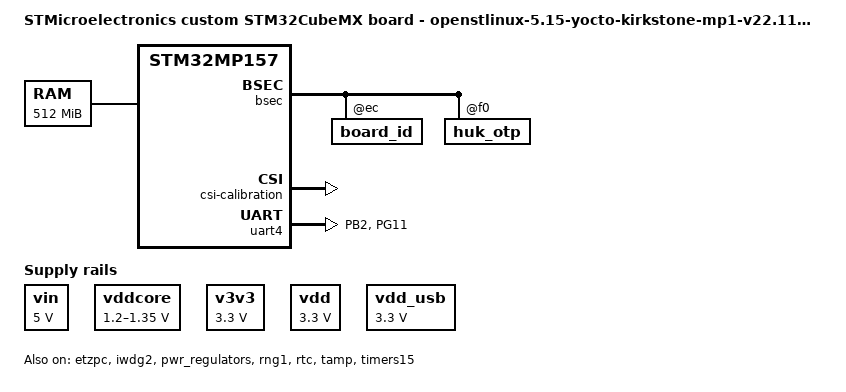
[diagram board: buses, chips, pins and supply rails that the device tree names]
/* SPDX-License-Identifier: (GPL-2.0+ OR BSD-3-Clause) */
/*
 * Copyright (C) STMicroelectronics 2022 - All Rights Reserved
 * Author: STM32CubeMX code generation for STMicroelectronics.
 */

/* For more information on Device Tree configuration, please refer to
 * https://wiki.st.com/stm32mpu/wiki/Category:Device_tree_configuration
 */

/dts-v1/;
#include <dt-bindings/pinctrl/stm32-pinfunc.h>
#include <dt-bindings/clock/stm32mp1-clksrc.h>
#include <dt-bindings/soc/stm32mp15-etzpc.h>

#include "stm32mp157.dtsi"
#include "stm32mp15xa.dtsi"
#include "stm32mp15xxac-pinctrl.dtsi"

/* USER CODE BEGIN includes */
#include <dt-bindings/power/stm32mp1-power.h>
/* USER CODE END includes */

/ {
	model = "STMicroelectronics custom STM32CubeMX board - openstlinux-5.15-yocto-kirkstone-mp1-v22.11.23";
	compatible = "st,stm32mp157a-bearpi-mx", "st,stm32mp157";

	memory@c0000000 {
		device_type = "memory";
		reg = <0xc0000000 0x20000000>;

		/* USER CODE BEGIN memory */
		/* USER CODE END memory */
	};

	reserved-memory {
		#address-cells = <1>;
		#size-cells = <1>;
		ranges;

		/* USER CODE BEGIN reserved-memory */
		/* USER CODE END reserved-memory */
	};

	/* USER CODE BEGIN root */

	vin:vin{
		compatible = "regulator-fixed";
		regulator-name = "vin";
		regulator-min-microvolt = <5000000>;
		regulator-max-microvolt = <5000000>;
		regulator-always-on;
	};
	vin: vin {
		compatible = "regulator-fixed";
		regulator-name = "vin";
		regulator-min-microvolt = <5000000>;
		regulator-max-microvolt = <5000000>;
		regulator-always-on;
	};

	vddcore: regulator-vddcore {
		compatible = "regulator-fixed";
		regulator-name = "vddcore";
		regulator-min-microvolt = <1200000>;
		regulator-max-microvolt = <1350000>;
		regulator-always-on;
		regulator-boot-on;
	};

	v3v3: regulator-3p3v {
		compatible = "regulator-fixed";
		regulator-name = "v3v3";
		regulator-min-microvolt = <3300000>;
		regulator-max-microvolt = <3300000>;
		regulator-always-on;
		regulator-boot-on;
	};

	vdd: regulator-vdd {
		compatible = "regulator-fixed";
		regulator-name = "vdd";
		regulator-min-microvolt = <3300000>;
		regulator-max-microvolt = <3300000>;
		regulator-always-on;
		regulator-boot-on;
	};

	vdd_usb: regulator-vdd-usb {
		compatible = "regulator-fixed";
		regulator-name = "vdd_usb";
		regulator-min-microvolt = <3300000>;
		regulator-max-microvolt = <3300000>;
		regulator-always-on;
		regulator-boot-on;
	};
	aliases{
		serial0 = &uart4;
	};

	chosen{
		stdout-path = "serial0:115200n8";
	};
	/* USER CODE END root */

	clocks {
		/* USER CODE BEGIN clocks */
		/* USER CODE END clocks */

		clk_hsi: clk-hsi {
			clock-frequency = <64000000>;

			/* USER CODE BEGIN clk_hsi */
			/* USER CODE END clk_hsi */
		};
		clk_lse: clk-lse {
			clock-frequency = <32768>;
			st,drive = < LSEDRV_MEDIUM_HIGH >;

			/* USER CODE BEGIN clk_lse */
			/* USER CODE END clk_lse */
		};
		clk_hse: clk-hse {
			clock-frequency = <24000000>;

			/* USER CODE BEGIN clk_hse */
			/* USER CODE END clk_hse */
		};
	};

}; /*root*/

/*Warning: the configuration of the secured GPIOs should be added in (addons) User Section*/
&pinctrl {
	/* USER CODE BEGIN pinctrl */

	uart4_pins_mx: uart4_mx-0 {
		pins1 {
			pinmux = <STM32_PINMUX('B', 2, AF8)>; /* UART4_RX */
			bias-disable;
		};
		pins2 {
			pinmux = <STM32_PINMUX('G', 11, AF6)>; /* UART4_TX */
			bias-disable;
			drive-push-pull;
			slew-rate = <0>;
		};
	};
	/* USER CODE END pinctrl */
};

&pinctrl_z {
	/* USER CODE BEGIN pinctrl_z */
	/* USER CODE END pinctrl_z */
};

&bsec{
	status = "okay";

	/* USER CODE BEGIN bsec */

	board_id:board_id@ec{
		reg = <0xec 0x4>;
		st,non-secure-otp;
	};

	huk_otp:huk_otp@f0{
		reg = <0xf0 0x10>;
	};
	/* USER CODE END bsec */
};

&etzpc{
	status = "okay";
	st,decprot = <
	/*"NS_R S_W" peripherals*/
	DECPROT(STM32MP1_ETZPC_DDRCTRL_ID, DECPROT_NS_R_S_W, DECPROT_LOCK)
	DECPROT(STM32MP1_ETZPC_DDRPHYC_ID, DECPROT_NS_R_S_W, DECPROT_LOCK)
	/*"Non Secured" peripherals*/
	DECPROT(STM32MP1_ETZPC_DMA1_ID, DECPROT_NS_RW, DECPROT_UNLOCK)
	DECPROT(STM32MP1_ETZPC_DMA2_ID, DECPROT_NS_RW, DECPROT_UNLOCK)
	DECPROT(STM32MP1_ETZPC_DMAMUX_ID, DECPROT_NS_RW, DECPROT_UNLOCK)
	DECPROT(STM32MP1_ETZPC_HASH1_ID, DECPROT_NS_RW, DECPROT_UNLOCK)
	DECPROT(STM32MP1_ETZPC_I2C2_ID, DECPROT_NS_RW, DECPROT_UNLOCK)
	DECPROT(STM32MP1_ETZPC_I2C5_ID, DECPROT_NS_RW, DECPROT_UNLOCK)
	DECPROT(STM32MP1_ETZPC_SAI2_ID, DECPROT_NS_RW, DECPROT_UNLOCK)
	DECPROT(STM32MP1_ETZPC_SDMMC3_ID, DECPROT_NS_RW, DECPROT_UNLOCK)
	DECPROT(STM32MP1_ETZPC_DLYBSD3_ID, DECPROT_NS_RW, DECPROT_UNLOCK)
	DECPROT(STM32MP1_ETZPC_UART4_ID, DECPROT_NS_RW, DECPROT_UNLOCK)
	DECPROT(STM32MP1_ETZPC_OTG_ID, DECPROT_NS_RW, DECPROT_UNLOCK)
	/*"Secured" peripherals*/
	DECPROT(STM32MP1_ETZPC_STGENC_ID, DECPROT_S_RW, DECPROT_UNLOCK)

	/*Restriction: following IDs are not managed  - please to use User-Section if needed:
		  STM32MP1_ETZPC_SRAMx_ID  STM32MP1_ETZPC_RETRAM_ID  STM32MP1_ETZPC_BKPSRAM_ID*/

	/* USER CODE BEGIN etzpc_decprot */
		/*STM32CubeMX generates a basic and standard configuration for ETZPC.
		Additional device configurations can be added here if needed.
		"etzpc" node could be also overloaded in "addons" User-Section.*/
	/* USER CODE END etzpc_decprot */
	>;

	/* USER CODE BEGIN etzpc */
	/* USER CODE END etzpc */
};

&iwdg2{
	status = "okay";

	/* USER CODE BEGIN iwdg2 */
	timeout-sec = <32>;
	secure-timeout-sec = <15>;
	/* USER CODE END iwdg2 */
};

&pwr_regulators{
	status = "okay";

	/* USER CODE BEGIN pwr_regulators */
	system_suspend_supported_soc_modes = <
		STM32_PM_CSLEEP_RUN
		STM32_PM_CSTOP_ALLOW_LP_STOP
		STM32_PM_CSTOP_ALLOW_STANDBY_DDR_SR
	>;
	system_off_soc_mode = <STM32_PM_CSTOP_ALLOW_STANDBY_DDR_OFF>;
	vdd-supply = <&vdd>;
	vdd_3v3_usbfs-supply = <&vdd_usb>;
	/* USER CODE END pwr_regulators */
};

&rcc{
	status = "okay";

	/* USER CODE BEGIN rcc */
	/* USER CODE END rcc */

	st,clksrc = <
		CLK_MPU_PLL1P
		CLK_AXI_PLL2P
		CLK_MCU_PLL3P
		CLK_PLL12_HSE
		CLK_PLL3_HSE
		CLK_PLL4_HSE
		CLK_RTC_LSE
		CLK_MCO1_DISABLED
		CLK_MCO2_DISABLED
	>;
	st,clkdiv = <
		1 		/*MPU*/
		0 		/*AXI*/
		0 		/*MCU*/
		1 		/*APB1*/
		1 		/*APB2*/
		1 		/*APB3*/
		1 		/*APB4*/
		2 		/*APB5*/
		0 		/*RTC*/
		0 		/*MCO1*/
		0 		/*MCO2*/
	>;
	st,pkcs = <
		CLK_CKPER_DISABLED
		CLK_ETH_DISABLED
		CLK_SDMMC12_PLL4P
		CLK_STGEN_HSE
		CLK_USBPHY_HSE
		CLK_SPI2S1_DISABLED
		CLK_SPI2S23_DISABLED
		CLK_SPI45_DISABLED
		CLK_SPI6_DISABLED
		CLK_I2C46_DISABLED
		CLK_SDMMC3_PLL4P
		CLK_USBO_USBPHY
		CLK_ADC_DISABLED
		CLK_CEC_DISABLED
		CLK_I2C12_HSI
		CLK_I2C35_HSI
		CLK_UART1_DISABLED
		CLK_UART24_HSI
		CLK_UART35_DISABLED
		CLK_UART6_DISABLED
		CLK_UART78_DISABLED
		CLK_SPDIF_DISABLED
		CLK_SAI1_DISABLED
		CLK_SAI2_PLL4Q
		CLK_SAI3_DISABLED
		CLK_SAI4_DISABLED
		CLK_LPTIM1_DISABLED
		CLK_LPTIM23_DISABLED
		CLK_LPTIM45_DISABLED
	>;
	pll1:st,pll@0 {
		compatible = "st,stm32mp1-pll";
		reg = <0>;
		cfg = < 2 80 0 1 1 PQR(1,0,0) >;
		frac = < 0x800 >;
	};
	pll2:st,pll@1 {
		compatible = "st,stm32mp1-pll";
		reg = <1>;
		cfg = < 2 49 1 1 0 PQR(1,1,1) >;
	};
	pll3:st,pll@2 {
		compatible = "st,stm32mp1-pll";
		reg = <2>;
		cfg = < 1 51 2 1 1 PQR(1,0,0) >;
	};
	pll4:st,pll@3 {
		compatible = "st,stm32mp1-pll";
		reg = <3>;
		cfg = < 1 40 4 19 7 PQR(1,1,0) >;
		frac = < 0x800 >;
	};
};

&rng1{
	status = "okay";

	/* USER CODE BEGIN rng1 */
	/* USER CODE END rng1 */
};

&rtc{
	status = "okay";

	/* USER CODE BEGIN rtc */
	/* USER CODE END rtc */
};

&tamp{
	status = "okay";

	/* USER CODE BEGIN tamp */
	/* USER CODE END tamp */
};

/* USER CODE BEGIN addons */

&cpu0{
	cpu-supply = <&vddcore>;
};

&osc_calibration{

	csi-calibration{
		status = "okay";
	};

	hsi-calibration{
		status = "okay";
	};
};

&timers15{
	status = "okay";

	counter{
		status = "okay";
	};
};

&cpu1{
	cpu-supply = <&vddcore>;
};


&uart4{
	pinctrl-names = "default";
	pinctrl-0 = <&uart4_pins_mx>;
	status = "okay";
};
/* USER CODE END addons */

